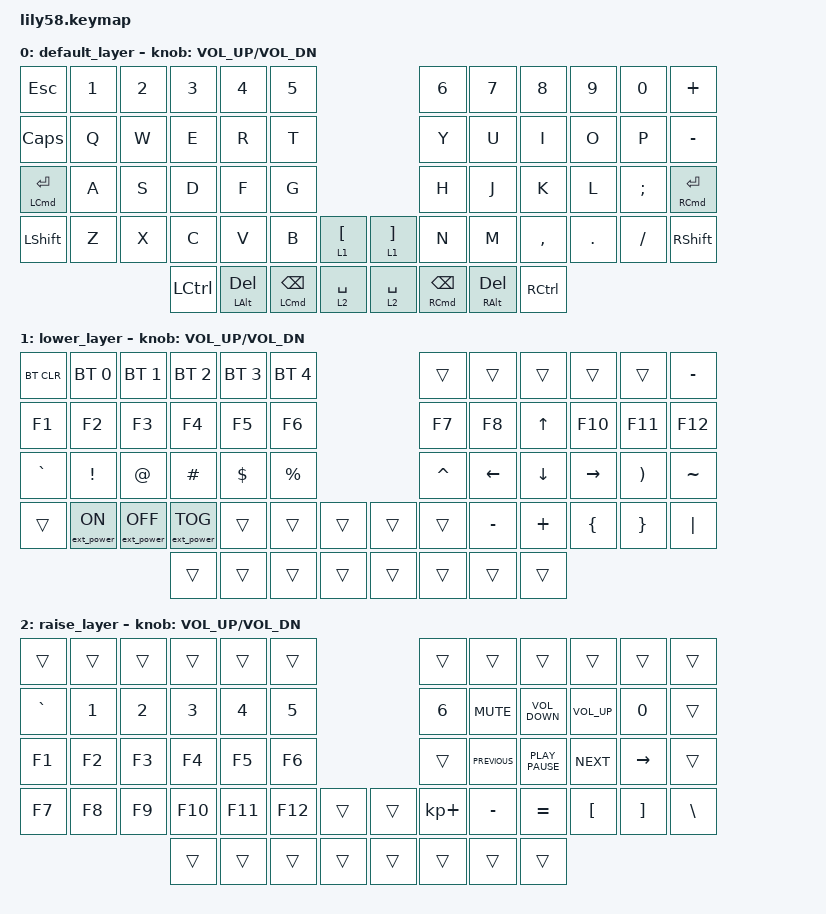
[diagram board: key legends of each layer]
/*
 * Copyright (c) 2020 The ZMK Contributors
 *
 * SPDX-License-Identifier: MIT
 */

#include <behaviors.dtsi>
#include <dt-bindings/zmk/bt.h>
#include <dt-bindings/zmk/ext_power.h>
#include <dt-bindings/zmk/keys.h>

/ {
    combos { compatible = "zmk,combos"; };

    behaviors {
        ss_hs_modmorph: ss_hs_modmorph {
            compatible = "zmk,behavior-mod-morph";
            label = "SS_HS_MODMORPH";
            bindings = <&kp M>, <&kp RIGHT_BRACKET>;

            #binding-cells = <0>;
            mods = <(MOD_LSFT|MOD_RSFT)>;
        };

        kh_hs_tapdance: kh_hs_tapdance {
            compatible = "zmk,behavior-tap-dance";
            label = "KH_HS_TAPDANCE";
            #binding-cells = <0>;
            tapping-term-ms = <200>;
            bindings = <&kp LEFT_BRACKET>, <&kp RIGHT_BRACKET>;
        };

        hrm: hrm {
            compatible = "zmk,behavior-hold-tap";
            #binding-cells = <2>;
            flavor = "tap-preferred";
            tapping-term-ms = <200>;
            quick-tap-ms = <200>;
            require-prior-idle-ms = <125>;
            bindings = <&kp>, <&kp>;
        };

        taplayer: taplayer {
            compatible = "zmk,behavior-hold-tap";
            label = "TAPLAYER";
            bindings = <&mo>, <&kp>;

            #binding-cells = <2>;
            tapping-term-ms = <200>;
            quick-tap-ms = <200>;
            require-prior-idle-ms = <125>;
            flavor = "tap-preferred";
        };
    };

    keymap {
        compatible = "zmk,keymap";

        default_layer {
            // ------------------------------------------------------------------------------------------------------------
            // |  ESC  |  1  |  2  |  3   |  4   |  5   |                   |  6   |  7    |  8    |  9   |   0   |   `   |
            // |  TAB  |  Q  |  W  |  E   |  R   |  T   |                   |  Y   |  U    |  I    |  O   |   P   |   -   |
            // |  CTRL |  A  |  S  |  D   |  F   |  G   |                   |  H   |  J    |  K    |  L   |   ;   |   '   |
            // | SHIFT |  Z  |  X  |  C   |  V   |  B   |   "["  |  |  "]"  |  N   |  M    |  ,    |  .   |   /   | SHIFT |
            //                     | ALT  | GUI  | LOWER|  SPACE |  | ENTER | RAISE| BSPC  | GUI   |

            bindings = <
&kp ESC          &kp N1  &kp N2  &kp N3     &kp N4         &kp N5                                                                      &kp N6               &kp N7              &kp N8     &kp N9   &kp N0    &kp PLUS
&kp CAPS         &kp Q   &kp W   &kp E      &kp R          &kp T                                                                       &kp Y                &kp U               &kp I      &kp O    &kp P     &kp MINUS
&hrm LCMD ENTER  &kp A   &kp S   &kp D      &kp F          &kp G                                                                       &kp H                &kp J               &kp K      &kp L    &kp SEMI  &hrm RCMD ENTER
&kp LSHFT        &kp Z   &kp X   &kp C      &kp V          &kp B                &taplayer 1 LEFT_BRACKET    &taplayer 1 RIGHT_BRACKET  &kp N                &kp M               &kp COMMA  &kp DOT  &kp FSLH  &kp RSHFT
                                 &kp LCTRL  &hrm LALT DEL  &hrm LCMD BACKSPACE  &taplayer 2 SPACE           &taplayer 2 SPACE          &hrm RCMD BACKSPACE  &hrm RIGHT_ALT DEL  &kp RCTRL
            >;

            sensor-bindings = <&inc_dec_kp C_VOL_UP C_VOL_DN>;
        };

        lower_layer {
            // ------------------------------------------------------------------------------------------------------------
            // | BTCLR | BT1 | BT2 |  BT3 |  BT4 |  BT5 |                   |      |       |       |      |       |       |
            // |  F1   |  F2 |  F3 |  F4  |  F5  |  F6  |                   |  F7  |  F8   |  F9   |  F10 |  F11  |  F12  |
            // |   `   |  !  |  @  |  #   |  $   |  %   |                   |  ^   |  &    |  *    |  (   |   )   |   ~   |
            // |       |     |     |      |      |      |        |  |       |      |  _    |  +    |  {   |   }   |  "|"  |
            //                     |      |      |      |        |  |       |      |       |       |

            bindings = <
&bt BT_CLR  &bt BT_SEL 0      &bt BT_SEL 1       &bt BT_SEL 2       &bt BT_SEL 3  &bt BT_SEL 4                    &trans     &trans          &trans          &trans     &trans    &kp MINUS
&kp F1      &kp F2            &kp F3             &kp F4             &kp F5        &kp F6                          &kp F7     &kp F8          &kp UP_ARROW    &kp F10    &kp F11   &kp F12
&kp GRAVE   &kp EXCL          &kp AT             &kp HASH           &kp DOLLAR    &kp PRCNT                       &kp CARET  &kp LEFT_ARROW  &kp DOWN_ARROW  &kp RIGHT  &kp RPAR  &kp TILDE
&trans      &ext_power EP_ON  &ext_power EP_OFF  &ext_power EP_TOG  &trans        &trans        &trans    &trans  &trans     &kp MINUS       &kp PLUS        &kp LBRC   &kp RBRC  &kp PIPE
                                                 &trans             &trans        &trans        &trans    &trans  &trans     &trans          &trans
            >;

            sensor-bindings = <&inc_dec_kp C_VOL_UP C_VOL_DN>;
        };

        raise_layer {
            // ------------------------------------------------------------------------------------------------------------
            // |       |     |     |      |      |      |                   |      |       |       |      |       |       |
            // |   `   |  1  |  2  |  3   |  4   |  5   |                   |  6   |   7   |   8   |  9   |   0   |       |
            // |   F1  |  F2 |  F3 |  F4  |  F5  |  F6  |                   |      |   <-  |   v   |  ^   |  ->   |       |
            // |   F7  |  F8 |  F9 |  F10 |  F11 |  F12 |        |  |       |  +   |   -   |   =   |  [   |   ]   |   \   |
            //                     |      |      |      |        |  |       |      |       |       |

            bindings = <
&trans     &trans  &trans  &trans   &trans   &trans                     &trans       &trans          &trans             &trans           &trans     &trans
&kp GRAVE  &kp N1  &kp N2  &kp N3   &kp N4   &kp N5                     &kp N6       &kp C_MUTE      &kp C_VOLUME_DOWN  &kp C_VOLUME_UP  &kp N0     &trans
&kp F1     &kp F2  &kp F3  &kp F4   &kp F5   &kp F6                     &trans       &kp K_PREVIOUS  &kp K_PLAY_PAUSE   &kp K_NEXT       &kp RIGHT  &trans
&kp F7     &kp F8  &kp F9  &kp F10  &kp F11  &kp F12  &trans    &trans  &kp KP_PLUS  &kp MINUS       &kp EQUAL          &kp LBKT         &kp RBKT   &kp BSLH
                           &trans   &trans   &trans   &trans    &trans  &trans       &trans          &trans
            >;

            sensor-bindings = <&inc_dec_kp C_VOL_UP C_VOL_DN>;
        };
    };
};
